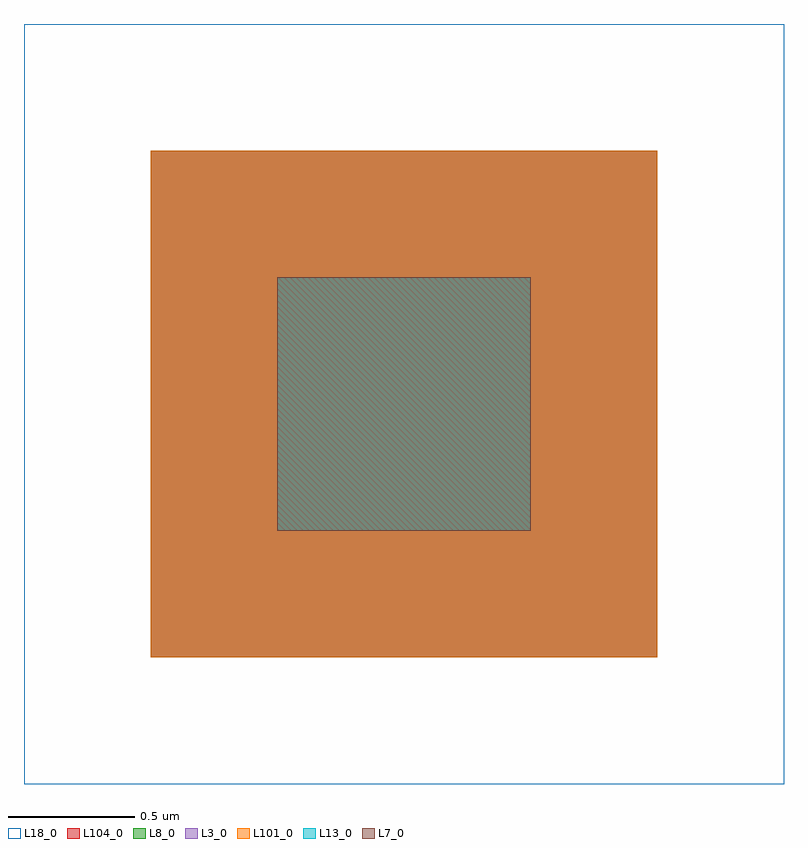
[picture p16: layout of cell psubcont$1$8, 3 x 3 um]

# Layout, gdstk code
import gdstk
lib = gdstk.Library(unit=1e-6, precision=1e-07)
def R(c, l, rs):  # rectangles x0, y0, x1, y1
    for r in rs: c.add(gdstk.rectangle(r[:2], r[2:], *l))
L3_0 = (3, 0)
L7_0 = (7, 0)
L8_0 = (8, 0)
L13_0 = (13, 0)
L18_0 = (18, 0)
L101_0 = (101, 0)
L104_0 = (104, 0)

dcont1_1_7 = lib.new_cell('dcont1$1$7')
R(dcont1_1_7, L3_0, [(-1,-1,1,1)])
R(dcont1_1_7, L7_0, [(-0.5,-0.5,0.5,0.5)])
R(dcont1_1_7, L8_0, [(-1,-1,1,1)])
R(dcont1_1_7, L13_0, [(-0.5,-0.5,0.5,0.5)])
R(dcont1_1_7, L101_0, [(-1,-1,1,1)])

psubcont_1_8 = lib.new_cell('psubcont$1$8')
R(psubcont_1_8, L18_0, [(-1.5,-1.5,1.5,1.5)])
R(psubcont_1_8, L104_0, [(-1,-1,1,1)])
psubcont_1_8.add(gdstk.Reference(dcont1_1_7, (0,0)))

lib.write_gds('psubcont_1_8.gds')
